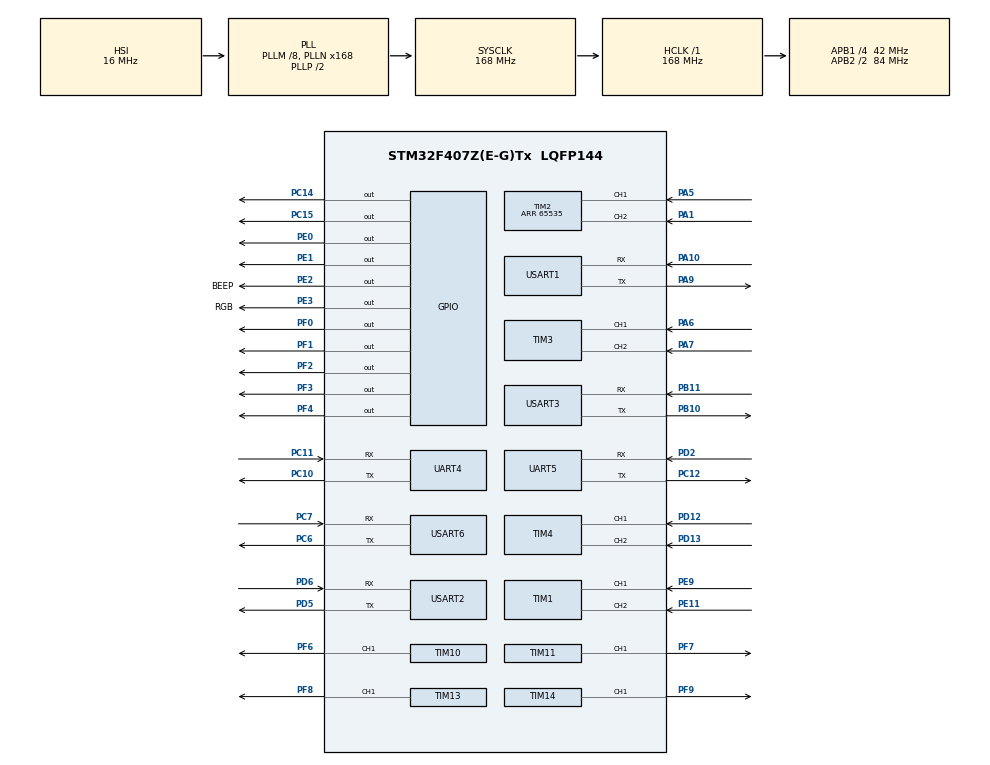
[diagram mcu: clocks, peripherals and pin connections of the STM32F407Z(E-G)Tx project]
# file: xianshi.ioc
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Dma.Request0=UART4_TX
Dma.UART4_TX.0.Direction=DMA_MEMORY_TO_PERIPH
Dma.UART4_TX.0.FIFOMode=DMA_FIFOMODE_DISABLE
Dma.UART4_TX.0.Instance=DMA1_Stream4
Dma.UART4_TX.0.MemDataAlignment=DMA_MDATAALIGN_BYTE
Dma.UART4_TX.0.MemInc=DMA_MINC_ENABLE
Dma.UART4_TX.0.Mode=DMA_NORMAL
Dma.UART4_TX.0.PeriphDataAlignment=DMA_PDATAALIGN_BYTE
Dma.UART4_TX.0.PeriphInc=DMA_PINC_DISABLE
Dma.UART4_TX.0.Priority=DMA_PRIORITY_LOW
FREERTOS.Queues01=record,1,uint16_t,0,Dynamic,NULL,NULL;show,1,uint16_t,0,Dynamic,NULL,NULL;history,1,uint16_t,0,Dynamic,NULL,NULL
FREERTOS.Tasks01=defaultTask,0,128,StartDefaultTask,Default,NULL,Dynamic,NULL,NULL;uart1,-3,256,Connect,Default,NULL,Dynamic,NULL,NULL;UART4_monitor,0,512,StartTask03,Default,NULL,Dynamic,NULL,NULL;US3_JY91,-3,128,StartTask04,Default,NULL,Dynamic,NULL,NULL;encoder,-3,128,StartTask05,Default,NULL,Dynamic,NULL,NULL;run_motor,-3,512,StartTask06,Default,NULL,Dynamic,NULL,NULL;rho_get,-3,128,StartTask07,Default,NULL,Dynamic,NULL,NULL;run_task,-3,512,StartTask08,Default,NULL,Dynamic,NULL,NULL;run_record,3,1024,run_show,Default,NULL,Dynamic,NULL,NULL;RGBwarn,-3,128,Warn,Default,NULL,Dynamic,NULL,NULL;records,-3,1024,recordShow,Default,NULL,Dynamic,NULL,NULL;record_cal,3,1024,records_cal,Default,NULL,Dynamic,NULL,NULL;his,-3,512,history_show,Default,NULL,Dynamic,NULL,NULL
FREERTOS.configTOTAL_HEAP_SIZE=32768
Mcu.Family=STM32F4
Mcu.Name=STM32F407Z(E-G)Tx
Mcu.Package=LQFP144
NVIC.DMA1_Stream4_IRQn=true\:5\:0\:false\:false\:true\:true\:false\:true\:true
NVIC.PriorityGroup=NVIC_PRIORITYGROUP_4
NVIC.TIM6_DAC_IRQn=true\:15\:0\:false\:false\:true\:false\:false\:true\:true
NVIC.TimeBase=TIM6_DAC_IRQn
NVIC.TimeBaseIP=TIM6
NVIC.UART4_IRQn=true\:5\:0\:false\:false\:true\:true\:true\:true\:true
NVIC.UART5_IRQn=true\:5\:0\:false\:false\:true\:true\:true\:true\:true
NVIC.USART1_IRQn=true\:5\:0\:false\:false\:true\:true\:true\:true\:true
NVIC.USART2_IRQn=true\:5\:0\:false\:false\:true\:true\:true\:true\:true
NVIC.USART3_IRQn=true\:5\:0\:false\:false\:true\:true\:true\:true\:true
NVIC.USART6_IRQn=true\:5\:0\:false\:false\:true\:true\:true\:true\:true
PA0-WKUP.Mode=SYS_WakeUp0
PA0-WKUP.Signal=SYS_WKUP
PA1.Signal=S_TIM2_CH2
PA10.Mode=Asynchronous
PA10.Signal=USART1_RX
PA13.Mode=Serial_Wire
PA13.Signal=SYS_JTMS-SWDIO
PA14.Mode=Serial_Wire
PA14.Signal=SYS_JTCK-SWCLK
PA5.Signal=S_TIM2_CH1_ETR
PA6.Signal=S_TIM3_CH1
PA7.Signal=S_TIM3_CH2
PA9.Mode=Asynchronous
PA9.Signal=USART1_TX
PB10.Mode=Asynchronous
PB10.Signal=USART3_TX
PB11.Mode=Asynchronous
PB11.Signal=USART3_RX
PC10.Mode=Asynchronous
PC10.Signal=UART4_TX
PC11.Mode=Asynchronous
PC11.Signal=UART4_RX
PC12.Mode=Asynchronous
PC12.Signal=UART5_TX
PC14-OSC32_IN.Signal=GPIO_Output
PC15-OSC32_OUT.Signal=GPIO_Output
PC6.Mode=Asynchronous
PC6.Signal=USART6_TX
PC7.Mode=Asynchronous
PC7.Signal=USART6_RX
PD12.Signal=S_TIM4_CH1
PD13.Signal=S_TIM4_CH2
PD2.Mode=Asynchronous
PD2.Signal=UART5_RX
PD5.Mode=Asynchronous
PD5.Signal=USART2_TX
PD6.Mode=Asynchronous
PD6.Signal=USART2_RX
PE0.Signal=GPIO_Output
PE1.Signal=GPIO_Output
PE11.Signal=S_TIM1_CH2
PE2.GPIO_Label=BEEP
PE2.Signal=GPIO_Output
PE3.GPIO_Label=RGB
PE3.Signal=GPIO_Output
PE9.Signal=S_TIM1_CH1
PF0.Signal=GPIO_Output
PF1.Signal=GPIO_Output
PF2.Signal=GPIO_Output
PF3.Signal=GPIO_Output
PF4.Signal=GPIO_Output
PF6.Signal=S_TIM10_CH1
PF7.Signal=S_TIM11_CH1
PF8.Signal=S_TIM13_CH1
PF9.Signal=S_TIM14_CH1
PH0-OSC_IN.Mode=HSE-External-Oscillator
PH0-OSC_IN.Signal=RCC_OSC_IN
PH1-OSC_OUT.Mode=HSE-External-Oscillator
PH1-OSC_OUT.Signal=RCC_OSC_OUT
ProjectManager.HeapSize=0x200
ProjectManager.StackSize=0x400
ProjectManager.TargetToolchain=MDK-ARM V5.32
RCC.48MHZClocksFreq_Value=84000000
RCC.AHBFreq_Value=168000000
RCC.APB1CLKDivider=RCC_HCLK_DIV4
RCC.APB1Freq_Value=42000000
RCC.APB1TimFreq_Value=84000000
RCC.APB2CLKDivider=RCC_HCLK_DIV2
RCC.APB2Freq_Value=84000000
RCC.APB2TimFreq_Value=168000000
RCC.CortexFreq_Value=168000000
RCC.HCLKFreq_Value=168000000
RCC.HSE_VALUE=8000000
RCC.HSI_VALUE=16000000
RCC.LSE_VALUE=32768
RCC.PLLM=8
RCC.PLLN=168
RCC.SYSCLKFreq_VALUE=168000000
RCC.SYSCLKSource=RCC_SYSCLKSOURCE_PLLCLK
RCC.VCOOutputFreq_Value=336000000
SH.S_TIM10_CH1.0=TIM10_CH1,PWM Generation1 CH1
SH.S_TIM11_CH1.0=TIM11_CH1,PWM Generation1 CH1
SH.S_TIM13_CH1.0=TIM13_CH1,PWM Generation1 CH1
SH.S_TIM14_CH1.0=TIM14_CH1,PWM Generation1 CH1
SH.S_TIM1_CH1.0=TIM1_CH1,Encoder_Interface
SH.S_TIM1_CH2.0=TIM1_CH2,Encoder_Interface
SH.S_TIM2_CH1_ETR.0=TIM2_CH1,Encoder_Interface
SH.S_TIM2_CH2.0=TIM2_CH2,Encoder_Interface
SH.S_TIM3_CH1.0=TIM3_CH1,Encoder_Interface
SH.S_TIM3_CH2.0=TIM3_CH2,Encoder_Interface
SH.S_TIM4_CH1.0=TIM4_CH1,Encoder_Interface
SH.S_TIM4_CH2.0=TIM4_CH2,Encoder_Interface
TIM1.EncoderMode=TIM_ENCODERMODE_TI12
TIM1.IC1Filter=12
TIM1.IC2Filter=12
TIM10.AutoReloadPreload=TIM_AUTORELOAD_PRELOAD_ENABLE
TIM10.Channel=TIM_CHANNEL_1
TIM10.OCMode_PWM=TIM_OCMODE_PWM1
TIM10.Period=999
TIM10.Prescaler=9
TIM11.AutoReloadPreload=TIM_AUTORELOAD_PRELOAD_ENABLE
TIM11.Channel=TIM_CHANNEL_1
TIM11.Period=999
TIM11.Prescaler=9
TIM13.AutoReloadPreload=TIM_AUTORELOAD_PRELOAD_ENABLE
TIM13.Channel=TIM_CHANNEL_1
TIM13.Period=999
TIM13.Prescaler=4
TIM14.AutoReloadPreload=TIM_AUTORELOAD_PRELOAD_ENABLE
TIM14.Channel=TIM_CHANNEL_1
TIM14.Period=999
TIM14.Prescaler=4
TIM2.EncoderMode=TIM_ENCODERMODE_TI12
TIM2.IC1Filter=12
TIM2.IC2Filter=12
TIM2.Period=65535
TIM3.EncoderMode=TIM_ENCODERMODE_TI12
TIM3.IC1Filter=12
TIM3.IC2Filter=12
TIM4.EncoderMode=TIM_ENCODERMODE_TI12
TIM4.IC1Filter=12
TIM4.IC2Filter=12
UART4.VirtualMode=Asynchronous
UART5.VirtualMode=Asynchronous
USART1.VirtualMode=VM_ASYNC
USART2.VirtualMode=VM_ASYNC
USART3.VirtualMode=VM_ASYNC
USART6.VirtualMode=VM_ASYNC
VP_FREERTOS_VS_CMSIS_V1.Mode=CMSIS_V1
VP_SYS_VS_tim6.Mode=TIM6
VP_TIM10_VS_ClockSourceINT.Mode=Enable_Timer
VP_TIM11_VS_ClockSourceINT.Mode=Enable_Timer
VP_TIM13_VS_ClockSourceINT.Mode=Enable_Timer
VP_TIM14_VS_ClockSourceINT.Mode=Enable_Timer
board=custom

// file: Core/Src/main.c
/* USER CODE BEGIN Header */
/**
  ******************************************************************************
  * @file           : main.c
  * @brief          : Main program body
  ******************************************************************************
  * @attention
  *
  * Copyright (c) 2025 STMicroelectronics.
  * All rights reserved.
  *
  * This software is licensed under terms that can be found in the LICENSE file
  * in the root directory of this software component.
  * If no LICENSE file comes with this software, it is provided AS-IS.
  *
  ******************************************************************************
  */
/* USER CODE END Header */
#include "main.h"
#include "cmsis_os.h"
#include "dma.h"
#include "tim.h"
#include "usart.h"
#include "gpio.h"
#include "pn532_task.h"
#include "pn532.h"
/* USER CODE BEGIN Includes */
#include "mydefine.h"
/* USER CODE END Includes */

void SystemClock_Config(void);
void MX_FREERTOS_Init(void);

/* USER CODE BEGIN 0 */
extern MotorDriver_t car;
extern volatile uint8_t system_started;
/* USER CODE END 0 */

int main(void)
{

  /* MCU Configuration--------------------------------------------------------*/

  /* Reset of all peripherals, Initializes the Flash interface and the Systick. */
  HAL_Init();

  /* Configure the system clock */
  SystemClock_Config();

  /* Initialize all configured peripherals */
  MX_GPIO_Init();
  MX_DMA_Init();
  MX_USART1_UART_Init();
  MX_USART2_UART_Init();
  MX_UART4_Init();
  MX_USART3_UART_Init();
  MX_TIM1_Init();
  MX_TIM2_Init();
  MX_TIM3_Init();
  MX_TIM4_Init();
  MX_TIM10_Init();
  MX_TIM13_Init();
  MX_TIM11_Init();
  MX_TIM14_Init();
  MX_UART5_Init();
  MX_USART6_UART_Init();
  /* USER CODE BEGIN 2 */
	HAL_UART_Receive_IT(&huart6, &uart6_rx_buffer[0], 1); // 开启USART6接收中断
	Encoder_Init();
	Motor_Init();
	PID_Init();
	JY61P_Send(1);
	Kalman_Init(); // 初始化卡尔曼滤波器
	PathPlanning_Init();// 初始化路径规划系统

    // 初始化时确保小车停止
  system_started = 0;
  MotorDriver_StopAll(&car);

  uint8_t temp;
  HAL_UART_Receive_IT(&huart2,&temp,1); //开启第一次接收
  HAL_UART_Receive_IT(&huart1,&temp,1); //开启下一次接收
	HAL_UART_Receive_IT(&huart3,&Recv3,1); //开启下一次接收
	HAL_UART_Receive_IT(&huart5, &Recv5, 1);
  /* USER CODE END 2 */

  /* Call init function for freertos objects (in cmsis_os2.c) */
  MX_FREERTOS_Init();

  /* Start scheduler */
  osKernelStart();

  /* We should never get here as control is now taken by the scheduler */

  /* Infinite loop */
  while (1)
  {

  }
}

void SystemClock_Config(void)
{
  RCC_OscInitTypeDef RCC_OscInitStruct = {0};
  RCC_ClkInitTypeDef RCC_ClkInitStruct = {0};

  /** Configure the main internal regulator output voltage
  */
  __HAL_RCC_PWR_CLK_ENABLE();
  __HAL_PWR_VOLTAGESCALING_CONFIG(PWR_REGULATOR_VOLTAGE_SCALE1);

  /** Initializes the RCC Oscillators according to the specified parameters
  * in the RCC_OscInitTypeDef structure.
  */
  RCC_OscInitStruct.OscillatorType = RCC_OSCILLATORTYPE_HSI;
  RCC_OscInitStruct.HSIState = RCC_HSI_ON;
  RCC_OscInitStruct.HSICalibrationValue = RCC_HSICALIBRATION_DEFAULT;
  RCC_OscInitStruct.PLL.PLLState = RCC_PLL_ON;
  RCC_OscInitStruct.PLL.PLLSource = RCC_PLLSOURCE_HSI;
  RCC_OscInitStruct.PLL.PLLM = 8;
  RCC_OscInitStruct.PLL.PLLN = 168;
  RCC_OscInitStruct.PLL.PLLP = RCC_PLLP_DIV2;
  RCC_OscInitStruct.PLL.PLLQ = 4;
  if (HAL_RCC_OscConfig(&RCC_OscInitStruct) != HAL_OK)
  {
    Error_Handler();
  }

  /** Initializes the CPU, AHB and APB buses clocks
  */
  RCC_ClkInitStruct.ClockType = RCC_CLOCKTYPE_HCLK|RCC_CLOCKTYPE_SYSCLK
                              |RCC_CLOCKTYPE_PCLK1|RCC_CLOCKTYPE_PCLK2;
  RCC_ClkInitStruct.SYSCLKSource = RCC_SYSCLKSOURCE_PLLCLK;
  RCC_ClkInitStruct.AHBCLKDivider = RCC_SYSCLK_DIV1;
  RCC_ClkInitStruct.APB1CLKDivider = RCC_HCLK_DIV4;
  RCC_ClkInitStruct.APB2CLKDivider = RCC_HCLK_DIV2;

  if (HAL_RCC_ClockConfig(&RCC_ClkInitStruct, FLASH_LATENCY_5) != HAL_OK)
  {
    Error_Handler();
  }
}

void HAL_TIM_PeriodElapsedCallback(TIM_HandleTypeDef *htim)
{
  if (htim->Instance == TIM6)
  {
    HAL_IncTick();
  }
}

void Error_Handler(void)
{
  __disable_irq();
  while (1)
  {
  }
}

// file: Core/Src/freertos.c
/* USER CODE BEGIN Header */
/**
 ******************************************************************************
 * File Name          : freertos.c
 * Description        : Code for freertos applications
 ******************************************************************************
 * @attention
 *
 * Copyright (c) 2025 STMicroelectronics.
 * All rights reserved.
 *
 * This software is licensed under terms that can be found in the LICENSE file
 * in the root directory of this software component.
 * If no LICENSE file comes with this software, it is provided AS-IS.
 *
 ******************************************************************************
 */
/* USER CODE END Header */

#include "FreeRTOS.h"
#include "task.h"
#include "main.h"
#include "cmsis_os.h"

/* USER CODE BEGIN Includes */
#include <stdio.h>
#include <stdlib.h>
#include <string.h>
#include "mydefine.h"
#include "uart2.h"
#include <math.h>
#include "record.h"
#include "simple_path_tracker.h"
#include "pn532_task.h"
#include "pn532.h"
/* USER CODE END Includes */

/* USER CODE BEGIN PTD */
SemaphoreHandle_t xUartSemaphore;
extern MotorDriver_t car;
extern PID_T pid_speed_A;  // A轮速度环
extern PID_T pid_speed_B;  // B轮速度环
extern PID_T pid_speed_C;  // C轮速度环
extern PID_T pid_speed_D;  // D轮速度环

SPT_Tracker g_tracker;
SPT_Tracker g_shortest;
/* USER CODE END PTD */

/* USER CODE BEGIN Variables */
volatile uint8_t uart_processing = 0; // 0: idle, 1: processing
uint8_t warn_flag = 0;       // 0: no warn, 1: warn
volatile uint8_t system_started = 0;  // 0: 停止, 1: 启动、
volatile uint8_t final_flag=0;  // 0: 否, 1: 终点停车
/* USER CODE END Variables */
osThreadId defaultTaskHandle;
osThreadId uart1Handle;
osThreadId UART4_monitorHandle;
osThreadId US3_JY91Handle;
osThreadId encoderHandle;
osThreadId run_motorHandle;
osThreadId rho_getHandle;
osThreadId run_taskHandle;
osThreadId run_recordHandle;
osThreadId RGBwarnHandle;
osThreadId recordsHandle;
osThreadId record_calHandle;
osThreadId hisHandle;
osMessageQId recordHandle;
osMessageQId showHandle;
osMessageQId historyHandle;

void StartDefaultTask(void const * argument);
void Connect(void const * argument);
void StartTask03(void const * argument);
void StartTask04(void const * argument);
void StartTask05(void const * argument);
void StartTask06(void const * argument);
void StartTask07(void const * argument);
void StartTask08(void const * argument);
void run_show(void const * argument);
void Warn(void const * argument);
void recordShow(void const * argument);
void records_cal(void const * argument);
void history_show(void const * argument);

void MX_FREERTOS_Init(void); /* (MISRA C 2004 rule 8.1) */

/* GetIdleTaskMemory prototype (linked to static allocation support) */
void vApplicationGetIdleTaskMemory( StaticTask_t **ppxIdleTaskTCBBuffer, StackType_t **ppxIdleTaskStackBuffer, uint32_t *pulIdleTaskStackSize );

/* USER CODE BEGIN GET_IDLE_TASK_MEMORY */
static StaticTask_t xIdleTaskTCBBuffer;
static StackType_t xIdleStack[configMINIMAL_STACK_SIZE];

void vApplicationGetIdleTaskMemory(StaticTask_t **ppxIdleTaskTCBBuffer, StackType_t **ppxIdleTaskStackBuffer, uint32_t *pulIdleTaskStackSize)
{
  *ppxIdleTaskTCBBuffer = &xIdleTaskTCBBuffer;
  *ppxIdleTaskStackBuffer = &xIdleStack[0];
  *pulIdleTaskStackSize = configMINIMAL_STACK_SIZE;
  /* place for user code */
}
/* USER CODE END GET_IDLE_TASK_MEMORY */

void MX_FREERTOS_Init(void) {

  /* Create the queue(s) */
  /* definition and creation of record */
  osMessageQDef(record, 1, uint16_t);
  recordHandle = osMessageCreate(osMessageQ(record), NULL);

  /* definition and creation of show */
  osMessageQDef(show, 1, uint16_t);
  showHandle = osMessageCreate(osMessageQ(show), NULL);

  /* definition and creation of history */
  osMessageQDef(history, 1, uint16_t);
  historyHandle = osMessageCreate(osMessageQ(history), NULL);

  /* Create the thread(s) */
  /* definition and creation of defaultTask */
  osThreadDef(defaultTask, StartDefaultTask, osPriorityNormal, 0, 128);
  defaultTaskHandle = osThreadCreate(osThread(defaultTask), NULL);

  /* definition and creation of uart1 */
  osThreadDef(uart1, Connect, osPriorityIdle, 0, 256);
  uart1Handle = osThreadCreate(osThread(uart1), NULL);

  /* definition and creation of UART4_monitor */
  osThreadDef(UART4_monitor, StartTask03, osPriorityNormal, 0, 512);
  UART4_monitorHandle = osThreadCreate(osThread(UART4_monitor), NULL);

  /* definition and creation of US3_JY91 */
  osThreadDef(US3_JY91, StartTask04, osPriorityIdle, 0, 128);
  US3_JY91Handle = osThreadCreate(osThread(US3_JY91), NULL);

  /* definition and creation of encoder */
  osThreadDef(encoder, StartTask05, osPriorityIdle, 0, 128);
  encoderHandle = osThreadCreate(osThread(encoder), NULL);

  /* definition and creation of run_motor */
  osThreadDef(run_motor, StartTask06, osPriorityIdle, 0, 512);
  run_motorHandle = osThreadCreate(osThread(run_motor), NULL);

  /* definition and creation of rho_get */
  osThreadDef(rho_get, StartTask07, osPriorityIdle, 0, 128);
  rho_getHandle = osThreadCreate(osThread(rho_get), NULL);

  /* definition and creation of run_task */
  osThreadDef(run_task, StartTask08, osPriorityIdle, 0, 512);
  run_taskHandle = osThreadCreate(osThread(run_task), NULL);

  /* definition and creation of run_record */
  osThreadDef(run_record, run_show, osPriorityRealtime, 0, 1024);
  run_recordHandle = osThreadCreate(osThread(run_record), NULL);

  /* definition and creation of RGBwarn */
  osThreadDef(RGBwarn, Warn, osPriorityIdle, 0, 128);
  RGBwarnHandle = osThreadCreate(osThread(RGBwarn), NULL);

  /* definition and creation of records */
  osThreadDef(records, recordShow, osPriorityIdle, 0, 1024);
  recordsHandle = osThreadCreate(osThread(records), NULL);

  /* definition and creation of record_cal */
  osThreadDef(record_cal, records_cal, osPriorityRealtime, 0, 1024);
  record_calHandle = osThreadCreate(osThread(record_cal), NULL);

  /* definition and creation of his */
  osThreadDef(his, history_show, osPriorityIdle, 0, 512);
  hisHandle = osThreadCreate(osThread(his), NULL);

  /* USER CODE BEGIN RTOS_THREADS */
  /* add threads, ... */
  osThreadDef(PN532_ICCardTask, StartPN532_ICCardTask, osPriorityHigh, 0, 1024);
  osThreadCreate(osThread(PN532_ICCardTask), NULL);
  /* USER CODE END RTOS_THREADS */

}

/* USER CODE BEGIN Header_StartDefaultTask */
/**
 * @brief  Function implementing the defaultTask thread.
 * @param  argument: Not used
 * @retval None
 */
//LED闪烁任务,用于检测任务有无卡住
/* USER CODE END Header_StartDefaultTask */
void StartDefaultTask(void const * argument)
{
  /* USER CODE BEGIN StartDefaultTask */
  /* Infinite loop */
  for (;;)
  {
    HAL_GPIO_WritePin(GPIOF, GPIO_PIN_4, GPIO_PIN_SET);
    osDelay(250);
    HAL_GPIO_WritePin(GPIOF, GPIO_PIN_4, GPIO_PIN_RESET);
    osDelay(250);
  }
  /* USER CODE END StartDefaultTask */
}

/* USER CODE BEGIN Header_Connect */
/**
* @brief Function implementing the uart1 thread.
* @param argument: Not used
* @retval None
*/
/*
* 用于第一次与串口屏通信，判断是否连接成功
* 连接成功后，发送初始化命令，更新界面显示
*/
/* USER CODE END Header_Connect */
void Connect(void const * argument)
{
  /* USER CODE BEGIN Connect */
  xUartSemaphore = xSemaphoreCreateBinary();
  configASSERT(xUartSemaphore);
  // 如果创建时信号量默认为"已给"，这里清除一次，确保从空状态开始
  xSemaphoreTake(xUartSemaphore, 0);
  printf("Hello FreeRTOS\r\n");
  u2printf("rest\xff\xff\xff");
  /* Infinite loop */
  for(;;)
  {
    if (xSemaphoreTake(xUartSemaphore, portMAX_DELAY) == pdTRUE)
    {
      u2printf("main.t2.txt=\"connect\"\xff\xff\xff");
      u2printf("road.t2.txt=\"connect\"\xff\xff\xff");
      u2printf("record.t2.txt=\"connect\"\xff\xff\xff");
      u2printf("setting.t2.txt=\"connect\"\xff\xff\xff");

      // 启动小车系统
      if (system_started == 0) {
        system_started = 1;
      }

      printf("Get Semaphore\r\n");
      /* 处理完成，允许再次响应 connect */
      uart_processing = 0;
    }
  }
  /* USER CODE END Connect */
}

void StartTask03(void const * argument)
{
  /* USER CODE BEGIN StartTask03 */
  uint8_t i = 0;
  /* Infinite loop */
  for(;;)
  {
    if(i > 5 && warn_flag == 1) // 每5秒检查一次警告状态
    {
      i = 0;
      warn_flag = 0; // 假设有警告
      if(!final_flag){
		//结束报警，启动小车
		  system_started = 1;
		  }
    }
    else if(warn_flag == 1)
    {
      i++;
    }
    else
    {
      i=0;
    }
    osDelay(1000);
  }
  /* USER CODE END StartTask03 */
}

void StartTask04(void const * argument)
{
  /* USER CODE BEGIN StartTask04 */
  /* Infinite loop */
  for(;;)
  {
		Uart3_Parse();

    osDelay(5);
  }
  /* USER CODE END StartTask04 */
}

void StartTask05(void const * argument)
{
  /* USER CODE BEGIN StartTask05 */
  /* Infinite loop */
  for(;;)
  {
		Encoder_Task();

    osDelay(10);
  }
  /* USER CODE END StartTask05 */
}

void StartTask06(void const * argument)
{
  /* USER CODE BEGIN StartTask06 */
  /* Infinite loop */
  for(;;)
  {
		//电机驱动测试
		PID_Task();

    osDelay(5);
  }
  /* USER CODE END StartTask06 */
}

void StartTask07(void const * argument)
{
  /* USER CODE BEGIN StartTask07 */
  /* Infinite loop */
  for(;;)
  {
		RHO_Parse();

    osDelay(5);
  }
  /* USER CODE END StartTask07 */
}

void StartTask08(void const * argument)
{
  /* USER CODE BEGIN StartTask08 */
  /* Infinite loop */
  for(;;)
  {
    // 只有在系统启动时才执行路径规划
    if(system_started) {
      PathPlanning_Update(f_cross);
    }

    osDelay(10);
  }
  /* USER CODE END StartTask08 */
}

/* USER CODE BEGIN Header_run_show */
/**
* @brief Function implementing the run_record thread.
* @param argument: Not used
* @retval None
*/

/*
 * 每次进入行驶路径界面自动打印数组，数组的0，0坐标在屏幕左上角
 * 语法：line x0,y0,x1,y1,color
 * 例子：line 10,460,50,0xff00
 * 画一条点（10,460）到点（50,240）的红色线段
 * 屏幕因控件优先级更高的问题，实际可显示的区域为
 *  *(0，70）-----------------------------------*(480,70)
 *  |                                               |
 *  |                                               |
 *  |       屏幕可显示区域                           |
 *  |                                               |
 *  |                                               |
 *  |                                               |
 *  *(0,270)------------------------------------*(480,270)
 */

/* USER CODE END Header_run_show */
void run_show(void const * argument)
{
  /* USER CODE BEGIN run_show */
  uint16_t msg; // 用于接收消息
  /* Infinite loop */
  for(;;)
  {
     // 等待消息队列
    if (xQueueReceive(recordHandle, &msg, portMAX_DELAY) == pdTRUE)
    {
      // 收到消息后执行打印功能
      osDelay(200); // 确保界面已经切换到 record 页面
      g_shortest.length = 0;
      SPT_FindShortestPath(&g_tracker, &g_shortest, g_tracker.last_grid_x, g_tracker.last_grid_y);
      road_show(g_shortest.points, g_tracker.points, g_shortest.length, g_tracker.length);
      // printf("Record Command Sent\r\n");
			// snprintf(buffer, sizeof(buffer), "line %d,%d,%d,%d,%d\xff\xff\xff", 0, 70, 480, 70, 0);
      // u2printf(buffer);
    }
  }
  /* USER CODE END run_show */
}

void Warn(void const * argument)
{
  /* USER CODE BEGIN Warn */
  /* Infinite loop */
  for(;;)
  {
    if(warn_flag == 1)
    {
		//识别到IC卡，停止小车
		system_started = 0;
		MotorDriver_StopAll(&car);

    HAL_GPIO_WritePin(GPIOE, GPIO_PIN_2, GPIO_PIN_SET);
    HAL_GPIO_WritePin(GPIOE, GPIO_PIN_3, GPIO_PIN_SET);
    osDelay(500);
    HAL_GPIO_WritePin(GPIOE, GPIO_PIN_2, GPIO_PIN_RESET);
    HAL_GPIO_WritePin(GPIOE, GPIO_PIN_3, GPIO_PIN_RESET);
    osDelay(500);
    }
    else
    {
      HAL_GPIO_WritePin(GPIOE, GPIO_PIN_2, GPIO_PIN_SET);
      HAL_GPIO_WritePin(GPIOE, GPIO_PIN_3, GPIO_PIN_SET);
      osDelay(1000);
    }
  }
  /* USER CODE END Warn */
}

void recordShow(void const * argument)
{
  /* USER CODE BEGIN recordShow */
  uint16_t msg; // 用于接收消息
  /* Infinite loop */
  for(;;)
  {
    // 等待消息队列
    if (xQueueReceive(showHandle, &msg, portMAX_DELAY) == pdTRUE)
    {
      // 收到消息后执行打印功能
      osDelay(500); // 确保界面已经切换到 main 页面

      u2printf("cle s0.id,255\xff\xff\xff"); // 清除 id 显示区域
      if(msg=='1')
      {
        record_show_name(co57_record);
        record_show(co57_record);
        record_show_char(co57_record);
      }
      else if(msg=='2')
      {
        record_show_name(co60_record);
        record_show(co60_record);
        record_show_char(co60_record);
      }
      osDelay(1000);
    }
  }
  /* USER CODE END recordShow */
}

void records_cal(void const * argument)
{
  /* USER CODE BEGIN records_cal */
  SPT_Init(&g_tracker);
  /* Infinite loop */
  for(;;)
  {
    int sp = (int)((A_encoder.speed_cm_s+B_encoder.speed_cm_s+C_encoder.speed_cm_s+D_encoder.speed_cm_s)/4.0f);
    float yaw = f_yaw;
    SPT_Update(&g_tracker, sp, yaw);
    osDelay(10);
  }
  /* USER CODE END records_cal */
}

void history_show(void const * argument)
{
  /* USER CODE BEGIN history_show */
  uint16_t msg; // 用于接收消息
  /* Infinite loop */
  for(;;)
  {
    // 等待消息队列
    if (xQueueReceive(historyHandle, &msg, portMAX_DELAY) == pdTRUE)
    {
      if(msg==1)
      {
        history_show1_record(co57_record,record_num);
      }
      else if(msg==2)
      {
        history_show2_record(co60_record,record_num);
      }
      osDelay(1000);
    }
  }
  /* USER CODE END history_show */
}
